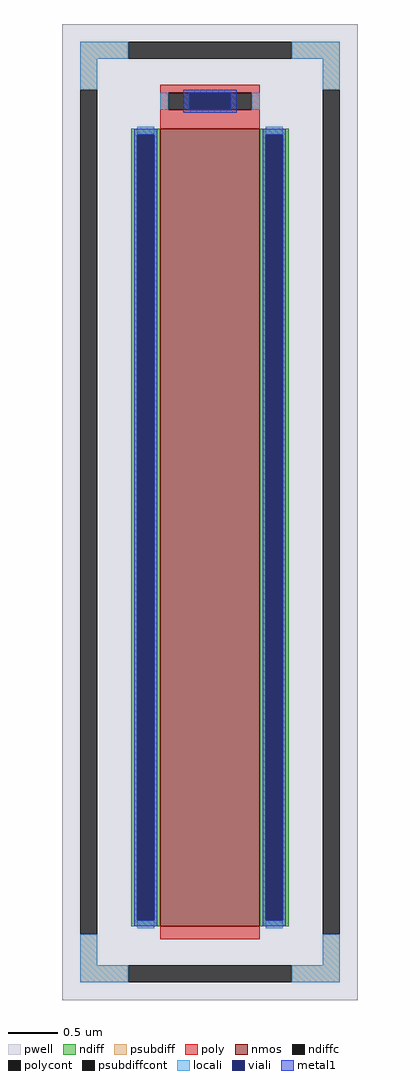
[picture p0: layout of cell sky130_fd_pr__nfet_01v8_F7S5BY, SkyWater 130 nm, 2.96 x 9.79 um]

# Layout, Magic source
magic
tech sky130A
magscale 1 2
<< pwell >>
rect -296 -979 296 979
<< nmos >>
rect -100 -831 100 769
<< ndiff >>
rect -158 757 -100 769
rect -158 -819 -146 757
rect -112 -819 -100 757
rect -158 -831 -100 -819
rect 100 757 158 769
rect 100 -819 112 757
rect 146 -819 158 757
rect 100 -831 158 -819
<< ndiffc >>
rect -146 -819 -112 757
rect 112 -819 146 757
<< psubdiff >>
rect -260 909 -164 943
rect 164 909 260 943
rect -260 847 -226 909
rect 226 847 260 909
rect -260 -909 -226 -847
rect 226 -909 260 -847
rect -260 -943 -164 -909
rect 164 -943 260 -909
<< psubdiffcont >>
rect -164 909 164 943
rect -260 -847 -226 847
rect 226 -847 260 847
rect -164 -943 164 -909
<< poly >>
rect -100 841 100 857
rect -100 807 -84 841
rect 84 807 100 841
rect -100 769 100 807
rect -100 -857 100 -831
<< polycont >>
rect -84 807 84 841
<< locali >>
rect -260 909 -164 943
rect 164 909 260 943
rect -260 847 -226 909
rect 226 847 260 909
rect -100 807 -84 841
rect 84 807 100 841
rect -146 757 -112 773
rect -146 -835 -112 -819
rect 112 757 146 773
rect 112 -835 146 -819
rect -260 -909 -226 -847
rect 226 -909 260 -847
rect -260 -943 -164 -909
rect 164 -943 260 -909
<< viali >>
rect -42 807 42 841
rect -146 -819 -112 757
rect 112 -819 146 757
<< metal1 >>
rect -54 841 54 847
rect -54 807 -42 841
rect 42 807 54 841
rect -54 801 54 807
rect -152 757 -106 769
rect -152 -819 -146 757
rect -112 -819 -106 757
rect -152 -831 -106 -819
rect 106 757 152 769
rect 106 -819 112 757
rect 146 -819 152 757
rect 106 -831 152 -819
<< properties >>
string FIXED_BBOX -243 -926 243 926
string gencell sky130_fd_pr__nfet_01v8
string library sky130
string parameters w 8.0 l 1.0 m 1 nf 1 diffcov 100 polycov 100 guard 1 glc 1 grc 1 gtc 1 gbc 1 tbcov 100 rlcov 100 topc 1 botc 0 poverlap 0 doverlap 1 lmin 0.15 wmin 0.42 compatible {sky130_fd_pr__nfet_01v8 sky130_fd_pr__nfet_01v8_lvt  sky130_fd_bs_flash__special_sonosfet_star  sky130_fd_pr__nfet_g5v0d10v5 sky130_fd_pr__nfet_05v0_nvt  sky130_fd_pr__nfet_03v3_nvt} full_metal 1 viasrc 100 viadrn 100 viagate 50 viagb 0 viagr 0 viagl 0 viagt 0
<< end >>
